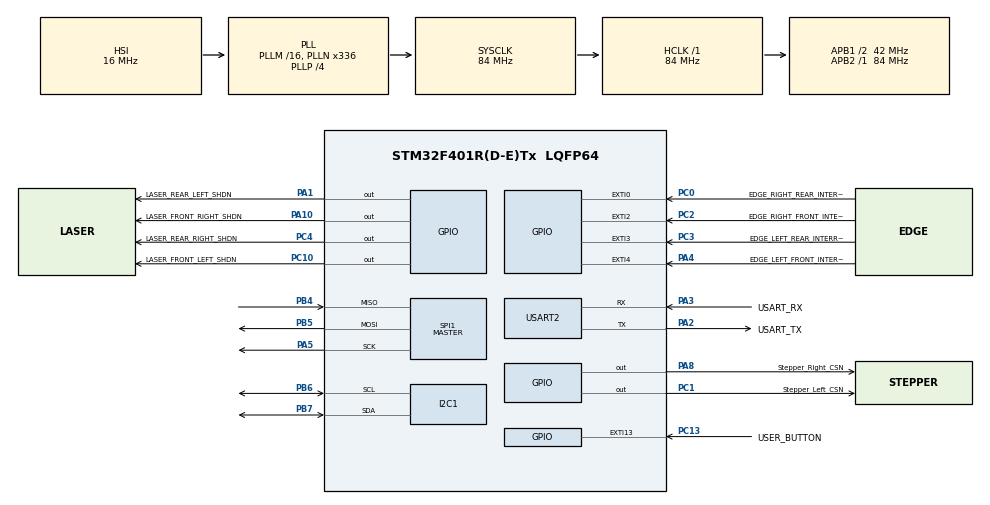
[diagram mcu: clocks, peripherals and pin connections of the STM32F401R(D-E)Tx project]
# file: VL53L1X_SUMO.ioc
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Mcu.Family=STM32F4
Mcu.Name=STM32F401R(D-E)Tx
Mcu.Package=LQFP64
NVIC.EXTI0_IRQn=true\:0\:0\:false\:false\:true\:true
NVIC.EXTI15_10_IRQn=true\:0\:0\:false\:false\:true\:true
NVIC.EXTI2_IRQn=true\:0\:0\:false\:false\:true\:true
NVIC.EXTI3_IRQn=true\:0\:0\:false\:false\:true\:true
NVIC.EXTI4_IRQn=true\:0\:0\:false\:false\:true\:true
NVIC.PriorityGroup=NVIC_PRIORITYGROUP_4
NVIC.TIM4_IRQn=true\:0\:0\:false\:false\:true\:false
NVIC.TimeBase=TIM4_IRQn
NVIC.TimeBaseIP=TIM4
PA1.GPIO_Label=LASER_REAR_LEFT_SHDN
PA1.GPIO_PuPd=GPIO_PULLUP
PA1.Signal=GPIO_Output
PA10.GPIO_Label=LASER_FRONT_RIGHT_SHDN
PA10.GPIO_PuPd=GPIO_PULLUP
PA10.Signal=GPIO_Output
PA13.GPIO_Label=TMS
PA13.Mode=Serial_Wire
PA13.Signal=SYS_JTMS-SWDIO
PA14.GPIO_Label=TCK
PA14.Mode=Serial_Wire
PA14.Signal=SYS_JTCK-SWCLK
PA2.GPIO_Label=USART_TX
PA2.GPIO_Mode=GPIO_MODE_AF_PP
PA2.GPIO_PuPd=GPIO_NOPULL
PA2.GPIO_Speed=GPIO_SPEED_FREQ_LOW
PA2.Mode=Asynchronous
PA2.Signal=USART2_TX
PA3.GPIO_Label=USART_RX
PA3.GPIO_Mode=GPIO_MODE_AF_PP
PA3.GPIO_PuPd=GPIO_NOPULL
PA3.GPIO_Speed=GPIO_SPEED_FREQ_LOW
PA3.Mode=Asynchronous
PA3.Signal=USART2_RX
PA4.GPIO_Label=EDGE_LEFT_FRONT_INTERRUPT
PA4.GPIO_ModeDefaultEXTI=GPIO_MODE_IT_RISING_FALLING
PA4.GPIO_PuPd=GPIO_NOPULL
PA4.Signal=GPXTI4
PA5.Mode=Full_Duplex_Master
PA5.Signal=SPI1_SCK
PA8.GPIO_Label=Stepper_Right_CSN
PA8.Signal=GPIO_Output
PB3.GPIO_Label=SWO
PB3.Signal=SYS_JTDO-SWO
PB4.Mode=Full_Duplex_Master
PB4.Signal=SPI1_MISO
PB5.Mode=Full_Duplex_Master
PB5.Signal=SPI1_MOSI
PB6.Mode=I2C
PB6.Signal=I2C1_SCL
PB7.Mode=I2C
PB7.Signal=I2C1_SDA
PC0.GPIO_Label=EDGE_RIGHT_REAR_INTERRUPT
PC0.GPIO_ModeDefaultEXTI=GPIO_MODE_IT_RISING_FALLING
PC0.Signal=GPXTI0
PC1.GPIO_Label=Stepper_Left_CSN
PC1.Signal=GPIO_Output
PC10.GPIO_Label=LASER_FRONT_LEFT_SHDN
PC10.GPIO_PuPd=GPIO_PULLUP
PC10.Signal=GPIO_Output
PC13-ANTI_TAMP.GPIO_Label=USER_BUTTON
PC13-ANTI_TAMP.Signal=GPXTI13
PC14-OSC32_IN.Mode=LSE-External-Oscillator
PC14-OSC32_IN.Signal=RCC_OSC32_IN
PC15-OSC32_OUT.Mode=LSE-External-Oscillator
PC15-OSC32_OUT.Signal=RCC_OSC32_OUT
PC2.GPIO_Label=EDGE_RIGHT_FRONT_INTERRUPT
PC2.GPIO_ModeDefaultEXTI=GPIO_MODE_IT_RISING_FALLING
PC2.Signal=GPXTI2
PC3.GPIO_Label=EDGE_LEFT_REAR_INTERRUPT
PC3.GPIO_ModeDefaultEXTI=GPIO_MODE_IT_RISING_FALLING
PC3.Signal=GPXTI3
PC4.GPIO_Label=LASER_REAR_RIGHT_SHDN
PC4.GPIO_PuPd=GPIO_PULLUP
PC4.Signal=GPIO_Output
PH0\ -\ OSC_IN.Mode=HSE-External-Clock-Source
PH0\ -\ OSC_IN.Signal=RCC_OSC_IN
PH1\ -\ OSC_OUT.Mode=HSE-External-Clock-Source
PH1\ -\ OSC_OUT.Signal=RCC_OSC_OUT
ProjectManager.HeapSize=0x200
ProjectManager.StackSize=0x400
ProjectManager.TargetToolchain=TrueSTUDIO
RCC.48MHZClocksFreq_Value=48000000
RCC.AHBFreq_Value=84000000
RCC.APB1CLKDivider=RCC_HCLK_DIV2
RCC.APB1Freq_Value=42000000
RCC.APB1TimFreq_Value=84000000
RCC.APB2Freq_Value=84000000
RCC.APB2TimFreq_Value=84000000
RCC.CortexFreq_Value=84000000
RCC.HCLKFreq_Value=84000000
RCC.HSE_VALUE=8000000
RCC.HSI_VALUE=16000000
RCC.PLLN=336
RCC.PLLP=RCC_PLLP_DIV4
RCC.PLLQ=7
RCC.SYSCLKFreq_VALUE=84000000
RCC.SYSCLKSource=RCC_SYSCLKSOURCE_PLLCLK
RCC.VCOOutputFreq_Value=336000000
SPI1.BaudRatePrescaler=SPI_BAUDRATEPRESCALER_64
SPI1.Direction=SPI_DIRECTION_2LINES
SPI1.Mode=SPI_MODE_MASTER
SPI1.VirtualType=VM_MASTER
USART2.VirtualMode=VM_ASYNC
VP_IWDG_VS_IWDG.Mode=IWDG_Activate
VP_SYS_VS_tim4.Mode=TIM4
board=NUCLEO-F401RE

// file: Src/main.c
/**
  ******************************************************************************
  * @file           : main.c
  * @brief          : Main program body
  ******************************************************************************
  ** This notice applies to any and all portions of this file
  * that are not between comment pairs USER CODE BEGIN and
  * USER CODE END. Other portions of this file, whether
  * inserted by the user or by software development tools
  * are owned by their respective copyright owners.
  *
  * COPYRIGHT(c) 2018 STMicroelectronics
  *
  * Redistribution and use in source and binary forms, with or without modification,
  * are permitted provided that the following conditions are met:
  *   1. Redistributions of source code must retain the above copyright notice,
  *      this list of conditions and the following disclaimer.
  *   2. Redistributions in binary form must reproduce the above copyright notice,
  *      this list of conditions and the following disclaimer in the documentation
  *      and/or other materials provided with the distribution.
  *   3. Neither the name of STMicroelectronics nor the names of its contributors
  *      may be used to endorse or promote products derived from this software
  *      without specific prior written permission.
  *
  * THIS SOFTWARE IS PROVIDED BY THE COPYRIGHT HOLDERS AND CONTRIBUTORS "AS IS"
  * AND ANY EXPRESS OR IMPLIED WARRANTIES, INCLUDING, BUT NOT LIMITED TO, THE
  * IMPLIED WARRANTIES OF MERCHANTABILITY AND FITNESS FOR A PARTICULAR PURPOSE ARE
  * DISCLAIMED. IN NO EVENT SHALL THE COPYRIGHT HOLDER OR CONTRIBUTORS BE LIABLE
  * FOR ANY DIRECT, INDIRECT, INCIDENTAL, SPECIAL, EXEMPLARY, OR CONSEQUENTIAL
  * DAMAGES (INCLUDING, BUT NOT LIMITED TO, PROCUREMENT OF SUBSTITUTE GOODS OR
  * SERVICES; LOSS OF USE, DATA, OR PROFITS; OR BUSINESS INTERRUPTION) HOWEVER
  * CAUSED AND ON ANY THEORY OF LIABILITY, WHETHER IN CONTRACT, STRICT LIABILITY,
  * OR TORT (INCLUDING NEGLIGENCE OR OTHERWISE) ARISING IN ANY WAY OUT OF THE USE
  * OF THIS SOFTWARE, EVEN IF ADVISED OF THE POSSIBILITY OF SUCH DAMAGE.
  *
  ******************************************************************************
  */
#include "main.h"
#include "stm32f4xx_hal.h"

/* USER CODE BEGIN Includes */
#include "vl53l1_api.h"
#include "string.h"
#include "sumobot_functions.h"
#include "TMC5160.h"
#include <math.h>
/* USER CODE END Includes */

I2C_HandleTypeDef hi2c1;

IWDG_HandleTypeDef hiwdg;

SPI_HandleTypeDef hspi1;

UART_HandleTypeDef huart2;

/* USER CODE BEGIN PV */
/* Private variables ---------------------------------------------------------*/
VL53L1_Dev_t LASER_FRONT_LEFT_dev_t;
VL53L1_DEV LASER_FRONT_LEFT_DEV = &LASER_FRONT_LEFT_dev_t;
VL53L1_RangingMeasurementData_t RangingDataFrontLeft;

VL53L1_Dev_t LASER_FRONT_RIGHT_dev_t;
VL53L1_DEV LASER_FRONT_RIGHT_DEV = &LASER_FRONT_RIGHT_dev_t;
VL53L1_RangingMeasurementData_t RangingDataFrontRight;

VL53L1_Dev_t LASER_REAR_LEFT_dev_t;
VL53L1_DEV LASER_REAR_LEFT_DEV = &LASER_REAR_LEFT_dev_t;
VL53L1_RangingMeasurementData_t RangingDataRearLeft;

VL53L1_Dev_t LASER_REAR_RIGHT_dev_t;
VL53L1_DEV LASER_REAR_RIGHT_DEV = &LASER_REAR_RIGHT_dev_t;
VL53L1_RangingMeasurementData_t RangingDataRearRight;

VL53L1_DetectionConfig_t Detectionconfig;

//State machine states
static unsigned char robot_state=STATE_IDLE;
static unsigned char previous_state=STATE_IDLE;

unsigned char state_edges= 0x0; //Bit 0:Edge left front Bit 1:Edge left rear Bit 2:Edge right front Bit 3: Edge right rear

static int64_t ScaledMotorMagnitude = 0;
static int8_t ScaledMotorDirection = 0;
float Opponent_Theta =0;
static char buffer[256];
char timer_block = 1;

//I2C bus variables
uint8_t measurementDataReady = 0x0;

//SPI bus variables
uint8_t spiTXbuffer[5], spiRXbuffer[5];
uint8_t SPISTATUS;

//Motors
sTMC5160Motor left_stepper;
sTMC5160Motor right_stepper;

uint32_t StartTime = 0;
uint32_t CurrentTime = 0;

/* USER CODE END PV */

void SystemClock_Config(void);
static void MX_GPIO_Init(void);
static void MX_USART2_UART_Init(void);
static void MX_I2C1_Init(void);
static void MX_SPI1_Init(void);
static void MX_IWDG_Init(void);

/* USER CODE BEGIN PFP */
/* Private function prototypes -----------------------------------------------*/
//All private functions in sumobot_functions.c, sumobot_functions.h
/* USER CODE END PFP */

int main(void)
{
  /* USER CODE BEGIN 1 */
	//Setup various configs
	Detectionconfig.DetectionMode = VL53L1_DETECTION_NORMAL_RUN;
	Detectionconfig.Distance.CrossMode = VL53L1_THRESHOLD_IN_WINDOW;
	Detectionconfig.IntrNoTarget = 0;
	Detectionconfig.Distance.High = LASER_SENSOR_HIGH_THRESHOLD;
	Detectionconfig.Distance.Low = LASER_SENSOR_LOW_THRESHOLD;

	left_stepper.acceleration_1 = LM_A1;
	left_stepper.acceleration_max = LM_AMAX;
	left_stepper.deceleration_1 = LM_D1;
	left_stepper.deceleration_max = LM_DMAX;
	left_stepper.velocity_1 = LM_V1;
	left_stepper.velocity_max = LM_VMAX;
	left_stepper.velocity_start = LM_VSTART;
	left_stepper.velocity_stop = LM_VSTOP;
	left_stepper.gpio_port = Stepper_Left_CSN_GPIO_Port;
	left_stepper.gpio_pin = Stepper_Left_CSN_Pin;
	left_stepper.direction = LM_DIRECTION;

	right_stepper.acceleration_1 = LM_A1;
	right_stepper.acceleration_max = LM_AMAX;
	right_stepper.deceleration_1 = LM_D1;
	right_stepper.deceleration_max = LM_DMAX;
	right_stepper.velocity_1 = LM_V1;
	right_stepper.velocity_max = LM_VMAX;
	right_stepper.velocity_start = LM_VSTART;
	right_stepper.velocity_stop = LM_VSTOP;
	right_stepper.gpio_port = Stepper_Right_CSN_GPIO_Port;
	right_stepper.gpio_pin = Stepper_Right_CSN_Pin;
	right_stepper.direction = RM_DIRECTION;
  /* USER CODE END 1 */

  /* MCU Configuration----------------------------------------------------------*/

  /* Reset of all peripherals, Initializes the Flash interface and the Systick. */
  HAL_Init();

  /* Configure the system clock */
  SystemClock_Config();

  /* Initialize all configured peripherals */
  MX_GPIO_Init();
  MX_USART2_UART_Init();
  MX_I2C1_Init();
  MX_SPI1_Init();
  MX_IWDG_Init();
  /* USER CODE BEGIN 2 */

	//Initialise the distance sensors
	SetupVL53L1XDevices(LASER_FRONT_LEFT_DEV, LASFRONTLEFT_I2C_ADDRESS,LASER_FRONT_LEFT_SHDN_GPIO_Port, LASER_FRONT_LEFT_SHDN_Pin);
	SetupVL53L1XDevices(LASER_FRONT_RIGHT_DEV,LASFRONTRIGHT_I2C_ADDRESS, LASER_FRONT_RIGHT_SHDN_GPIO_Port,LASER_FRONT_RIGHT_SHDN_Pin);
	SetupVL53L1XDevices(LASER_REAR_LEFT_DEV, LASREARLEFT_I2C_ADDRESS,LASER_REAR_LEFT_SHDN_GPIO_Port, LASER_REAR_LEFT_SHDN_Pin);
	SetupVL53L1XDevices(LASER_REAR_RIGHT_DEV, LASREARRIGHT_I2C_ADDRESS, LASER_REAR_RIGHT_SHDN_GPIO_Port, LASER_REAR_RIGHT_SHDN_Pin);

	//Initialise the motors
	tmc5160_initialise_motor(left_stepper);
	tmc5160_initialise_motor(right_stepper);

	state_edges= 0x0;

  /* USER CODE END 2 */

  /* Infinite loop */
  /* USER CODE BEGIN WHILE */
	while (1) {

		HAL_IWDG_Refresh(&hiwdg);

		//-----------------Lasers-----------------
		//Front left
		VL53L1_GetMeasurementDataReady(LASER_FRONT_LEFT_DEV,&measurementDataReady);
		if(measurementDataReady == 0x01){
			VL53L1_GetRangingMeasurementData(LASER_FRONT_LEFT_DEV,	&RangingDataFrontLeft);
			VL53L1_ClearInterruptAndStartMeasurement(LASER_FRONT_LEFT_DEV);
			measurementDataReady = 0x0;
		}

		//Front right
		VL53L1_GetMeasurementDataReady(LASER_FRONT_RIGHT_DEV,&measurementDataReady);
		if(measurementDataReady == 0x01){
			VL53L1_GetRangingMeasurementData(LASER_FRONT_RIGHT_DEV,	&RangingDataFrontRight);
			VL53L1_ClearInterruptAndStartMeasurement(LASER_FRONT_RIGHT_DEV);
			measurementDataReady = 0x0;
		}

		//Rear left
		VL53L1_GetMeasurementDataReady(LASER_REAR_LEFT_DEV,&measurementDataReady);
		if(measurementDataReady == 0x01){
			VL53L1_GetRangingMeasurementData(LASER_REAR_LEFT_DEV,	&RangingDataRearLeft);
			VL53L1_ClearInterruptAndStartMeasurement(LASER_REAR_LEFT_DEV);
			measurementDataReady = 0x0;
		}

		//Rear right
		VL53L1_GetMeasurementDataReady(LASER_REAR_RIGHT_DEV,&measurementDataReady);
		if(measurementDataReady == 0x01){
			VL53L1_GetRangingMeasurementData(LASER_REAR_RIGHT_DEV,	&RangingDataRearRight);
			VL53L1_ClearInterruptAndStartMeasurement(LASER_REAR_RIGHT_DEV);
			measurementDataReady = 0x0;
		}

		if(		RangingDataFrontLeft.RangeMilliMeter < 0 ||	RangingDataFrontRight.RangeMilliMeter < 0 ||
				RangingDataRearLeft.RangeMilliMeter < 0 || RangingDataRearRight.RangeMilliMeter < 0){

			SetupVL53L1XDevices(LASER_FRONT_LEFT_DEV, LASFRONTLEFT_I2C_ADDRESS,LASER_FRONT_LEFT_SHDN_GPIO_Port, LASER_FRONT_LEFT_SHDN_Pin);
			SetupVL53L1XDevices(LASER_FRONT_RIGHT_DEV,LASFRONTRIGHT_I2C_ADDRESS, LASER_FRONT_RIGHT_SHDN_GPIO_Port,LASER_FRONT_RIGHT_SHDN_Pin);
			SetupVL53L1XDevices(LASER_REAR_LEFT_DEV, LASREARLEFT_I2C_ADDRESS,LASER_REAR_LEFT_SHDN_GPIO_Port, LASER_REAR_LEFT_SHDN_Pin);
			SetupVL53L1XDevices(LASER_REAR_RIGHT_DEV, LASREARRIGHT_I2C_ADDRESS, LASER_REAR_RIGHT_SHDN_GPIO_Port, LASER_REAR_RIGHT_SHDN_Pin);
		}

		//------------TRACKING LOGIC---------
		if (state_edges != 0x0 && EDGES_ENABLED == 1){
			robot_state = STATE_EDGE_RETREAT;
		}
		else if(RangingDataFrontLeft.RangeMilliMeter < MINIMUM_SENSE_DISTANCE && RangingDataFrontRight.RangeMilliMeter< MINIMUM_SENSE_DISTANCE){
			ScaledMotorMagnitude = ATTACK_SPEED;
			ScaledMotorDirection = DIR_FORWARD;
			robot_state = STATE_SEEKING;
		}
		else if(RangingDataFrontRight.RangeMilliMeter < MINIMUM_SENSE_DISTANCE){
			ScaledMotorMagnitude = SEEK_SPEED;
			ScaledMotorDirection = DIR_RIGHT;
			robot_state = STATE_SEEKING;
		}
		else if(RangingDataFrontLeft.RangeMilliMeter < MINIMUM_SENSE_DISTANCE){
			ScaledMotorMagnitude = SEEK_SPEED;
			ScaledMotorDirection = DIR_LEFT;
			robot_state = STATE_SEEKING;
		}
		else if(RangingDataRearLeft.RangeMilliMeter < MINIMUM_SENSE_DISTANCE && RangingDataRearRight.RangeMilliMeter< MINIMUM_SENSE_DISTANCE){
			ScaledMotorMagnitude = ATTACK_SPEED;
			ScaledMotorDirection = DIR_REVERSE;
			robot_state = STATE_SEEKING;
		}
		else if(RangingDataRearLeft.RangeMilliMeter < MINIMUM_SENSE_DISTANCE){
			ScaledMotorMagnitude = SEEK_SPEED;
			ScaledMotorDirection = DIR_RIGHT;
			robot_state = STATE_SEEKING;
		}
		else if(RangingDataRearRight.RangeMilliMeter < MINIMUM_SENSE_DISTANCE){
			ScaledMotorMagnitude = SEEK_SPEED;
			ScaledMotorDirection = DIR_LEFT;
			robot_state = STATE_SEEKING;
		}
		else{
			ScaledMotorMagnitude = 0;
			ScaledMotorDirection = DIR_FORWARD;
			robot_state = STATE_IDLE;
		}

		if(timer_block){
			while(timer_block){
				HAL_Delay(10);
			}
			tmc5160_writeInt(Stepper_Left_CSN_GPIO_Port, Stepper_Left_CSN_Pin,TMC5160_VMAX, 0);
			tmc5160_writeInt(Stepper_Right_CSN_GPIO_Port, Stepper_Right_CSN_Pin,TMC5160_VMAX, 0);

			StartTime = HAL_GetTick();
			CurrentTime = HAL_GetTick();

			while((CurrentTime-StartTime)<5000){

				CurrentTime = HAL_GetTick();
				sprintf(buffer,
						"{'Time':'%d'}\r\n",
						(CurrentTime-StartTime));

				HAL_UART_Transmit(&huart2, (uint8_t*) buffer, strlen(buffer), 500);

				HAL_IWDG_Refresh(&hiwdg);

			}
		}

		//-------------STATES--------------
		switch(robot_state){
		case STATE_EDGE_RETREAT:

			switch(state_edges){
			case 0x1:
				//0001 Edge left front only triggered, reverse left side 100%, forward right side 50%
				tmc5160_writeInt(Stepper_Left_CSN_GPIO_Port, Stepper_Left_CSN_Pin, TMC5160_RAMPMODE, TMC5160_MODE_VELNEG);
				tmc5160_writeInt(Stepper_Left_CSN_GPIO_Port, Stepper_Left_CSN_Pin,TMC5160_VMAX, EDGE_RETREAT_MAX_SPEED);

				tmc5160_writeInt(Stepper_Right_CSN_GPIO_Port, Stepper_Right_CSN_Pin, TMC5160_RAMPMODE, TMC5160_MODE_VELPOS);
				tmc5160_writeInt(Stepper_Right_CSN_GPIO_Port, Stepper_Right_CSN_Pin,TMC5160_VMAX, EDGE_RETREAT_HALF_SPEED);
				break;

			case 0x2:
				//0010 Edge left rear only triggered, forward left side 100%, reverse right side 50%
				tmc5160_writeInt(Stepper_Left_CSN_GPIO_Port, Stepper_Left_CSN_Pin, TMC5160_RAMPMODE, TMC5160_MODE_VELPOS);
				tmc5160_writeInt(Stepper_Left_CSN_GPIO_Port, Stepper_Left_CSN_Pin,TMC5160_VMAX, EDGE_RETREAT_MAX_SPEED);

				tmc5160_writeInt(Stepper_Right_CSN_GPIO_Port, Stepper_Right_CSN_Pin, TMC5160_RAMPMODE, TMC5160_MODE_VELNEG);
				tmc5160_writeInt(Stepper_Right_CSN_GPIO_Port, Stepper_Right_CSN_Pin,TMC5160_VMAX, EDGE_RETREAT_HALF_SPEED);
				break;

			case 0x4:
				//0100 Edge right front only triggered, reverse right side 100%, forward left side 50%
				tmc5160_writeInt(Stepper_Left_CSN_GPIO_Port, Stepper_Left_CSN_Pin, TMC5160_RAMPMODE, TMC5160_MODE_VELPOS);
				tmc5160_writeInt(Stepper_Left_CSN_GPIO_Port, Stepper_Left_CSN_Pin,TMC5160_VMAX, EDGE_RETREAT_HALF_SPEED);

				tmc5160_writeInt(Stepper_Right_CSN_GPIO_Port, Stepper_Right_CSN_Pin, TMC5160_RAMPMODE, TMC5160_MODE_VELNEG);
				tmc5160_writeInt(Stepper_Right_CSN_GPIO_Port, Stepper_Right_CSN_Pin,TMC5160_VMAX, EDGE_RETREAT_MAX_SPEED);
				break;

			case 0x8:
				//1000 Edge right rear only triggered, forward right side 100%, reverse left side 50%
				tmc5160_writeInt(Stepper_Left_CSN_GPIO_Port, Stepper_Left_CSN_Pin, TMC5160_RAMPMODE, TMC5160_MODE_VELNEG);
				tmc5160_writeInt(Stepper_Left_CSN_GPIO_Port, Stepper_Left_CSN_Pin,TMC5160_VMAX, EDGE_RETREAT_HALF_SPEED);

				tmc5160_writeInt(Stepper_Right_CSN_GPIO_Port, Stepper_Right_CSN_Pin, TMC5160_RAMPMODE, TMC5160_MODE_VELPOS);
				tmc5160_writeInt(Stepper_Right_CSN_GPIO_Port, Stepper_Right_CSN_Pin,TMC5160_VMAX, EDGE_RETREAT_MAX_SPEED);
				break;

			case 0x3:
				//0011 Both left edges triggered, forward left side 100%, right side reverse 25%
				tmc5160_writeInt(Stepper_Left_CSN_GPIO_Port, Stepper_Left_CSN_Pin, TMC5160_RAMPMODE, TMC5160_MODE_VELPOS);
				tmc5160_writeInt(Stepper_Left_CSN_GPIO_Port, Stepper_Left_CSN_Pin,TMC5160_VMAX, EDGE_RETREAT_MAX_SPEED);

				tmc5160_writeInt(Stepper_Right_CSN_GPIO_Port, Stepper_Right_CSN_Pin, TMC5160_RAMPMODE, TMC5160_MODE_VELNEG);
				tmc5160_writeInt(Stepper_Right_CSN_GPIO_Port, Stepper_Right_CSN_Pin,TMC5160_VMAX, EDGE_RETREAT_QUARTER_SPEED);
				break;

			case 0xC:
				//1100 Both right edges triggered, forward right 100%, left side reverse 25%
				tmc5160_writeInt(Stepper_Left_CSN_GPIO_Port, Stepper_Left_CSN_Pin, TMC5160_RAMPMODE, TMC5160_MODE_VELNEG);
				tmc5160_writeInt(Stepper_Left_CSN_GPIO_Port, Stepper_Left_CSN_Pin,TMC5160_VMAX, EDGE_RETREAT_QUARTER_SPEED);

				tmc5160_writeInt(Stepper_Right_CSN_GPIO_Port, Stepper_Right_CSN_Pin, TMC5160_RAMPMODE, TMC5160_MODE_VELPOS);
				tmc5160_writeInt(Stepper_Right_CSN_GPIO_Port, Stepper_Right_CSN_Pin,TMC5160_VMAX, EDGE_RETREAT_MAX_SPEED);
				break;

			case 0x5:
				//0101 Both front edges triggered, reverse both 100%
				tmc5160_writeInt(Stepper_Left_CSN_GPIO_Port, Stepper_Left_CSN_Pin, TMC5160_RAMPMODE, TMC5160_MODE_VELNEG);
				tmc5160_writeInt(Stepper_Left_CSN_GPIO_Port, Stepper_Left_CSN_Pin,TMC5160_VMAX, EDGE_RETREAT_MAX_SPEED);

				tmc5160_writeInt(Stepper_Right_CSN_GPIO_Port, Stepper_Right_CSN_Pin, TMC5160_RAMPMODE, TMC5160_MODE_VELNEG);
				tmc5160_writeInt(Stepper_Right_CSN_GPIO_Port, Stepper_Right_CSN_Pin,TMC5160_VMAX, EDGE_RETREAT_MAX_SPEED);
				break;

			case 0xA:
				//1010 Both rear edges triggered, forward both 100%
				tmc5160_writeInt(Stepper_Left_CSN_GPIO_Port, Stepper_Left_CSN_Pin, TMC5160_RAMPMODE, TMC5160_MODE_VELPOS);
				tmc5160_writeInt(Stepper_Left_CSN_GPIO_Port, Stepper_Left_CSN_Pin,TMC5160_VMAX, EDGE_RETREAT_MAX_SPEED);

				tmc5160_writeInt(Stepper_Right_CSN_GPIO_Port, Stepper_Right_CSN_Pin, TMC5160_RAMPMODE, TMC5160_MODE_VELPOS);
				tmc5160_writeInt(Stepper_Right_CSN_GPIO_Port, Stepper_Right_CSN_Pin,TMC5160_VMAX, EDGE_RETREAT_MAX_SPEED);
				break;
			}
			break;

			case STATE_SEEKING:
				//drive to center -> 	L +100% R -100%

				switch(ScaledMotorDirection){
				case DIR_LEFT:
					tmc5160_writeInt(Stepper_Left_CSN_GPIO_Port, Stepper_Left_CSN_Pin, TMC5160_RAMPMODE, TMC5160_MODE_VELNEG);
					tmc5160_writeInt(Stepper_Right_CSN_GPIO_Port, Stepper_Right_CSN_Pin, TMC5160_RAMPMODE, TMC5160_MODE_VELPOS);
					break;

				case DIR_RIGHT:
					tmc5160_writeInt(Stepper_Left_CSN_GPIO_Port, Stepper_Left_CSN_Pin, TMC5160_RAMPMODE, TMC5160_MODE_VELPOS);
					tmc5160_writeInt(Stepper_Right_CSN_GPIO_Port, Stepper_Right_CSN_Pin, TMC5160_RAMPMODE, TMC5160_MODE_VELNEG);
					break;

				case DIR_FORWARD:
					tmc5160_writeInt(Stepper_Left_CSN_GPIO_Port, Stepper_Left_CSN_Pin, TMC5160_RAMPMODE, TMC5160_MODE_VELPOS);
					tmc5160_writeInt(Stepper_Right_CSN_GPIO_Port, Stepper_Right_CSN_Pin, TMC5160_RAMPMODE, TMC5160_MODE_VELPOS);
					break;

				case DIR_REVERSE:
					tmc5160_writeInt(Stepper_Left_CSN_GPIO_Port, Stepper_Left_CSN_Pin, TMC5160_RAMPMODE, TMC5160_MODE_VELNEG);
					tmc5160_writeInt(Stepper_Right_CSN_GPIO_Port, Stepper_Right_CSN_Pin, TMC5160_RAMPMODE, TMC5160_MODE_VELNEG);
					break;

				}

				tmc5160_writeInt(Stepper_Left_CSN_GPIO_Port, Stepper_Left_CSN_Pin,TMC5160_VMAX, ScaledMotorMagnitude);
				tmc5160_writeInt(Stepper_Right_CSN_GPIO_Port, Stepper_Right_CSN_Pin,TMC5160_VMAX, ScaledMotorMagnitude);

//				previous_state=STATE_SEEKING;
				break;

				case STATE_ATTACKING:
//					previous_state=STATE_ATTACKING;
					break;

				case STATE_IDLE:
//					previous_state=STATE_IDLE;
					tmc5160_writeInt(Stepper_Left_CSN_GPIO_Port, Stepper_Left_CSN_Pin,TMC5160_VMAX, 0);
					tmc5160_writeInt(Stepper_Right_CSN_GPIO_Port, Stepper_Right_CSN_Pin,TMC5160_VMAX, 0);

					break;

		}

		if(DASHBOARD_CONNECTED){
			sprintf(buffer,
					"{'LFL':'%d','LFR':'%d','LRL':'%d','LRR':'%d', 'MOTOR':'%d'}\r\n",
					RangingDataFrontLeft.RangeMilliMeter,
					RangingDataFrontRight.RangeMilliMeter,
					RangingDataRearLeft.RangeMilliMeter,
					RangingDataRearRight.RangeMilliMeter,
					ScaledMotorMagnitude);

			HAL_UART_Transmit(&huart2, (uint8_t*) buffer, strlen(buffer), 500);
		}

  /* USER CODE END WHILE */

	}

}

void SystemClock_Config(void)
{

  RCC_OscInitTypeDef RCC_OscInitStruct;
  RCC_ClkInitTypeDef RCC_ClkInitStruct;

    /**Configure the main internal regulator output voltage
    */
  __HAL_RCC_PWR_CLK_ENABLE();

  __HAL_PWR_VOLTAGESCALING_CONFIG(PWR_REGULATOR_VOLTAGE_SCALE2);

    /**Initializes the CPU, AHB and APB busses clocks
    */
  RCC_OscInitStruct.OscillatorType = RCC_OSCILLATORTYPE_HSI|RCC_OSCILLATORTYPE_LSI;
  RCC_OscInitStruct.HSIState = RCC_HSI_ON;
  RCC_OscInitStruct.HSICalibrationValue = 16;
  RCC_OscInitStruct.LSIState = RCC_LSI_ON;
  RCC_OscInitStruct.PLL.PLLState = RCC_PLL_ON;
  RCC_OscInitStruct.PLL.PLLSource = RCC_PLLSOURCE_HSI;
  RCC_OscInitStruct.PLL.PLLM = 16;
  RCC_OscInitStruct.PLL.PLLN = 336;
  RCC_OscInitStruct.PLL.PLLP = RCC_PLLP_DIV4;
  RCC_OscInitStruct.PLL.PLLQ = 7;
  if (HAL_RCC_OscConfig(&RCC_OscInitStruct) != HAL_OK)
  {
    _Error_Handler(__FILE__, __LINE__);
  }

    /**Initializes the CPU, AHB and APB busses clocks
    */
  RCC_ClkInitStruct.ClockType = RCC_CLOCKTYPE_HCLK|RCC_CLOCKTYPE_SYSCLK
                              |RCC_CLOCKTYPE_PCLK1|RCC_CLOCKTYPE_PCLK2;
  RCC_ClkInitStruct.SYSCLKSource = RCC_SYSCLKSOURCE_PLLCLK;
  RCC_ClkInitStruct.AHBCLKDivider = RCC_SYSCLK_DIV1;
  RCC_ClkInitStruct.APB1CLKDivider = RCC_HCLK_DIV2;
  RCC_ClkInitStruct.APB2CLKDivider = RCC_HCLK_DIV1;

  if (HAL_RCC_ClockConfig(&RCC_ClkInitStruct, FLASH_LATENCY_2) != HAL_OK)
  {
    _Error_Handler(__FILE__, __LINE__);
  }

    /**Configure the Systick interrupt time
    */
  HAL_SYSTICK_Config(HAL_RCC_GetHCLKFreq()/1000);

    /**Configure the Systick
    */
  HAL_SYSTICK_CLKSourceConfig(SYSTICK_CLKSOURCE_HCLK);

  /* SysTick_IRQn interrupt configuration */
  HAL_NVIC_SetPriority(SysTick_IRQn, 0, 0);
}

/* I2C1 init function */
static void MX_I2C1_Init(void)
{

  hi2c1.Instance = I2C1;
  hi2c1.Init.ClockSpeed = 100000;
  hi2c1.Init.DutyCycle = I2C_DUTYCYCLE_2;
  hi2c1.Init.OwnAddress1 = 0;
  hi2c1.Init.AddressingMode = I2C_ADDRESSINGMODE_7BIT;
  hi2c1.Init.DualAddressMode = I2C_DUALADDRESS_DISABLE;
  hi2c1.Init.OwnAddress2 = 0;
  hi2c1.Init.GeneralCallMode = I2C_GENERALCALL_DISABLE;
  hi2c1.Init.NoStretchMode = I2C_NOSTRETCH_DISABLE;
  if (HAL_I2C_Init(&hi2c1) != HAL_OK)
  {
    _Error_Handler(__FILE__, __LINE__);
  }

}

/* IWDG init function */
static void MX_IWDG_Init(void)
{

  hiwdg.Instance = IWDG;
  hiwdg.Init.Prescaler = IWDG_PRESCALER_4;
  hiwdg.Init.Reload = 4095;
  if (HAL_IWDG_Init(&hiwdg) != HAL_OK)
  {
    _Error_Handler(__FILE__, __LINE__);
  }

}

/* SPI1 init function */
static void MX_SPI1_Init(void)
{

  /* SPI1 parameter configuration*/
  hspi1.Instance = SPI1;
  hspi1.Init.Mode = SPI_MODE_MASTER;
  hspi1.Init.Direction = SPI_DIRECTION_2LINES;
  hspi1.Init.DataSize = SPI_DATASIZE_8BIT;
  hspi1.Init.CLKPolarity = SPI_POLARITY_LOW;
  hspi1.Init.CLKPhase = SPI_PHASE_1EDGE;
  hspi1.Init.NSS = SPI_NSS_SOFT;
  hspi1.Init.BaudRatePrescaler = SPI_BAUDRATEPRESCALER_64;
  hspi1.Init.FirstBit = SPI_FIRSTBIT_MSB;
  hspi1.Init.TIMode = SPI_TIMODE_DISABLE;
  hspi1.Init.CRCCalculation = SPI_CRCCALCULATION_DISABLE;
  hspi1.Init.CRCPolynomial = 10;
  if (HAL_SPI_Init(&hspi1) != HAL_OK)
  {
    _Error_Handler(__FILE__, __LINE__);
  }

}

/* USART2 init function */
static void MX_USART2_UART_Init(void)
{

  huart2.Instance = USART2;
  huart2.Init.BaudRate = 115200;
  huart2.Init.WordLength = UART_WORDLENGTH_8B;
  huart2.Init.StopBits = UART_STOPBITS_1;
  huart2.Init.Parity = UART_PARITY_NONE;
  huart2.Init.Mode = UART_MODE_TX_RX;
  huart2.Init.HwFlowCtl = UART_HWCONTROL_NONE;
  huart2.Init.OverSampling = UART_OVERSAMPLING_16;
  if (HAL_UART_Init(&huart2) != HAL_OK)
  {
    _Error_Handler(__FILE__, __LINE__);
  }

}

/** Configure pins as
        * Analog
        * Input
        * Output
        * EVENT_OUT
        * EXTI
*/
static void MX_GPIO_Init(void)
{

  GPIO_InitTypeDef GPIO_InitStruct;

  /* GPIO Ports Clock Enable */
  __HAL_RCC_GPIOC_CLK_ENABLE();
  __HAL_RCC_GPIOH_CLK_ENABLE();
  __HAL_RCC_GPIOA_CLK_ENABLE();
  __HAL_RCC_GPIOB_CLK_ENABLE();

  /*Configure GPIO pin Output Level */
  HAL_GPIO_WritePin(GPIOC, Stepper_Left_CSN_Pin|LASER_REAR_RIGHT_SHDN_Pin|LASER_FRONT_LEFT_SHDN_Pin, GPIO_PIN_RESET);

  /*Configure GPIO pin Output Level */
  HAL_GPIO_WritePin(GPIOA, LASER_REAR_LEFT_SHDN_Pin|Stepper_Right_CSN_Pin|LASER_FRONT_RIGHT_SHDN_Pin, GPIO_PIN_RESET);

  /*Configure GPIO pin : USER_BUTTON_Pin */
  GPIO_InitStruct.Pin = USER_BUTTON_Pin;
  GPIO_InitStruct.Mode = GPIO_MODE_IT_RISING;
  GPIO_InitStruct.Pull = GPIO_NOPULL;
  HAL_GPIO_Init(USER_BUTTON_GPIO_Port, &GPIO_InitStruct);

  /*Configure GPIO pins : EDGE_RIGHT_REAR_INTERRUPT_Pin EDGE_RIGHT_FRONT_INTERRUPT_Pin EDGE_LEFT_REAR_INTERRUPT_Pin */
  GPIO_InitStruct.Pin = EDGE_RIGHT_REAR_INTERRUPT_Pin|EDGE_RIGHT_FRONT_INTERRUPT_Pin|EDGE_LEFT_REAR_INTERRUPT_Pin;
  GPIO_InitStruct.Mode = GPIO_MODE_IT_RISING_FALLING;
  GPIO_InitStruct.Pull = GPIO_NOPULL;
  HAL_GPIO_Init(GPIOC, &GPIO_InitStruct);

  /*Configure GPIO pin : Stepper_Left_CSN_Pin */
  GPIO_InitStruct.Pin = Stepper_Left_CSN_Pin;
  GPIO_InitStruct.Mode = GPIO_MODE_OUTPUT_PP;
  GPIO_InitStruct.Pull = GPIO_NOPULL;
  GPIO_InitStruct.Speed = GPIO_SPEED_FREQ_LOW;
  HAL_GPIO_Init(Stepper_Left_CSN_GPIO_Port, &GPIO_InitStruct);

  /*Configure GPIO pins : LASER_REAR_LEFT_SHDN_Pin LASER_FRONT_RIGHT_SHDN_Pin */
  GPIO_InitStruct.Pin = LASER_REAR_LEFT_SHDN_Pin|LASER_FRONT_RIGHT_SHDN_Pin;
  GPIO_InitStruct.Mode = GPIO_MODE_OUTPUT_PP;
  GPIO_InitStruct.Pull = GPIO_PULLUP;
  GPIO_InitStruct.Speed = GPIO_SPEED_FREQ_LOW;
  HAL_GPIO_Init(GPIOA, &GPIO_InitStruct);

  /*Configure GPIO pin : EDGE_LEFT_FRONT_INTERRUPT_Pin */
  GPIO_InitStruct.Pin = EDGE_LEFT_FRONT_INTERRUPT_Pin;
  GPIO_InitStruct.Mode = GPIO_MODE_IT_RISING_FALLING;
  GPIO_InitStruct.Pull = GPIO_NOPULL;
  HAL_GPIO_Init(EDGE_LEFT_FRONT_INTERRUPT_GPIO_Port, &GPIO_InitStruct);

  /*Configure GPIO pins : LASER_REAR_RIGHT_SHDN_Pin LASER_FRONT_LEFT_SHDN_Pin */
  GPIO_InitStruct.Pin = LASER_REAR_RIGHT_SHDN_Pin|LASER_FRONT_LEFT_SHDN_Pin;
  GPIO_InitStruct.Mode = GPIO_MODE_OUTPUT_PP;
  GPIO_InitStruct.Pull = GPIO_PULLUP;
  GPIO_InitStruct.Speed = GPIO_SPEED_FREQ_LOW;
  HAL_GPIO_Init(GPIOC, &GPIO_InitStruct);

  /*Configure GPIO pin : Stepper_Right_CSN_Pin */
  GPIO_InitStruct.Pin = Stepper_Right_CSN_Pin;
  GPIO_InitStruct.Mode = GPIO_MODE_OUTPUT_PP;
  GPIO_InitStruct.Pull = GPIO_NOPULL;
  GPIO_InitStruct.Speed = GPIO_SPEED_FREQ_LOW;
  HAL_GPIO_Init(Stepper_Right_CSN_GPIO_Port, &GPIO_InitStruct);

  /* EXTI interrupt init*/
  HAL_NVIC_SetPriority(EXTI0_IRQn, 0, 0);
  HAL_NVIC_EnableIRQ(EXTI0_IRQn);

  HAL_NVIC_SetPriority(EXTI2_IRQn, 0, 0);
  HAL_NVIC_EnableIRQ(EXTI2_IRQn);

  HAL_NVIC_SetPriority(EXTI3_IRQn, 0, 0);
  HAL_NVIC_EnableIRQ(EXTI3_IRQn);

  HAL_NVIC_SetPriority(EXTI4_IRQn, 0, 0);
  HAL_NVIC_EnableIRQ(EXTI4_IRQn);

  HAL_NVIC_SetPriority(EXTI15_10_IRQn, 0, 0);
  HAL_NVIC_EnableIRQ(EXTI15_10_IRQn);

}

void HAL_TIM_PeriodElapsedCallback(TIM_HandleTypeDef *htim)
{
  if (htim->Instance == TIM4) {
    HAL_IncTick();
  }
}

void _Error_Handler(char *file, int line)
{
	while (1) {
	}
}

/************************ (C) COPYRIGHT STMicroelectronics *****END OF FILE****/
